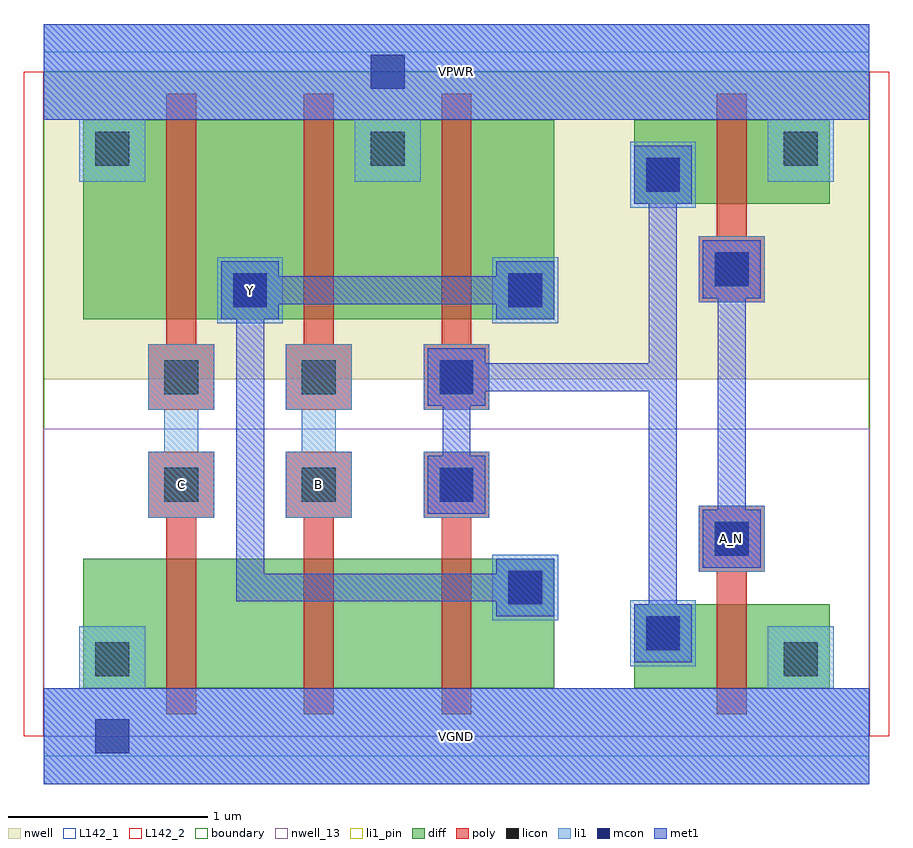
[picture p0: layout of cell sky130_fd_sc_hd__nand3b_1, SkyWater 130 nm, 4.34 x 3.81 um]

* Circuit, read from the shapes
.subckt sky130_fd_sc_hd__nand3b_1 A_N B C VGND VPWR Y
XM1 n1 C VGND VSUBS sky130_fd_pr__nfet_01v8 w=0.65 l=0.15
XM2 n2 B n1 VSUBS sky130_fd_pr__nfet_01v8 w=0.65 l=0.15
XM3 Y n3 n2 VSUBS sky130_fd_pr__nfet_01v8 w=0.65 l=0.15
XM4 VGND A_N n3 VSUBS sky130_fd_pr__nfet_01v8 w=0.42 l=0.15
XM5 Y C VPWR n4 sky130_fd_pr__pfet_01v8 w=1 l=0.15
XM6 VPWR B Y n4 sky130_fd_pr__pfet_01v8 w=1 l=0.15
XM7 Y n3 VPWR n4 sky130_fd_pr__pfet_01v8 w=1 l=0.15
XM8 VPWR A_N n3 n4 sky130_fd_pr__pfet_01v8 w=0.42 l=0.15
.ends

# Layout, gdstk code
import gdstk
lib = gdstk.Library(unit=1e-6, precision=1e-09)
def R(c, l, rs):  # rectangles x0, y0, x1, y1
    for r in rs: c.add(gdstk.rectangle(r[:2], r[2:], *l))
def A(c, l, x, y, w, h, nx, ny, dx, dy):  # array of equal rectangles
    R(c, l, [(x+i*dx, y+j*dy, x+i*dx+w, y+j*dy+h) for i in range(nx) for j in range(ny)])
def P(c, l, *ps):  # polygons
    for p in ps: c.add(gdstk.Polygon(p, *l))
nwell_13 = (64, 13)
nwell = (64, 20)
diff = (65, 20)
poly = (66, 20)
licon = (66, 44)
li1_pin = (67, 16)
li1 = (67, 20)
mcon = (67, 44)
met1 = (68, 20)
L142_1 = (142, 1)
L142_2 = (142, 2)
boundary = (235, 4)

sky130_fd_sc_hd__nand3b_ = lib.new_cell('sky130_fd_sc_hd__nand3b_1')
R(sky130_fd_sc_hd__nand3b_, nwell_13, [(0,0,4.14,1.54)])
R(sky130_fd_sc_hd__nand3b_, nwell, [(0,1.79,4.14,3.33)])
R(sky130_fd_sc_hd__nand3b_, diff, [(0.2,0.24,2.56,0.89), (0.2,0.24,0.615,0.89), (0.615,0.24,1.305,0.89), (1.305,0.24,1.995,0.89), (1.995,0.24,2.56,0.89), (2.96,0.24,3.94,0.66), (2.96,0.24,3.375,0.66), (3.375,0.24,3.94,0.66), (0.2,2.09,2.56,3.09), (0.2,2.09,0.615,3.09), (0.615,2.09,1.305,3.09), (1.305,2.09,1.995,3.09), (1.995,2.09,2.56,3.09), (2.96,2.67,3.94,3.09), (2.96,2.67,3.375,3.09), (3.375,2.67,3.94,3.09)])
P(sky130_fd_sc_hd__nand3b_, poly, [(1.305,0.11),(1.305,1.095),(1.215,1.095),(1.215,1.425),(1.545,1.425),(1.545,1.095),(1.455,1.095),(1.455,0.11)],
  [(1.215,1.635),(1.215,1.965),(1.305,1.965),(1.305,3.22),(1.455,3.22),(1.455,1.965),(1.545,1.965),(1.545,1.635)],
  [(3.375,0.11),(3.375,0.825),(3.285,0.825),(3.285,1.155),(3.615,1.155),(3.615,0.825),(3.525,0.825),(3.525,0.11)],
  [(3.285,2.175),(3.285,2.505),(3.375,2.505),(3.375,3.22),(3.525,3.22),(3.525,2.505),(3.615,2.505),(3.615,2.175)],
  [(0.615,0.11),(0.615,1.095),(0.525,1.095),(0.525,1.425),(0.855,1.425),(0.855,1.095),(0.765,1.095),(0.765,0.11)],
  [(0.525,1.635),(0.525,1.965),(0.615,1.965),(0.615,3.22),(0.765,3.22),(0.765,1.965),(0.855,1.965),(0.855,1.635)],
  [(1.995,0.11),(1.995,1.095),(1.905,1.095),(1.905,1.425),(2.235,1.425),(2.235,1.095),(2.145,1.095),(2.145,0.11)],
  [(1.905,1.635),(1.905,1.965),(1.995,1.965),(1.995,3.22),(2.145,3.22),(2.145,1.965),(2.235,1.965),(2.235,1.635)])
A(sky130_fd_sc_hd__nand3b_, licon, 0.605, 1.175, 0.17, 0.17, 3, 2, 0.69, 0.54)
R(sky130_fd_sc_hd__nand3b_, licon, [(0.26,0.3,0.43,0.47), (3.71,0.3,3.88,0.47), (3.02,0.43,3.19,0.6), (2.33,0.66,2.5,0.83), (3.365,0.905,3.535,1.075), (0.95,2.15,1.12,2.32), (2.33,2.15,2.5,2.32), (3.365,2.255,3.535,2.425), (3.02,2.73,3.19,2.9), (0.26,2.86,0.43,3.03), (1.64,2.86,1.81,3.03), (3.71,2.86,3.88,3.03)])
R(sky130_fd_sc_hd__nand3b_, li1_pin, [(0,-0.24,4.14,0.24), (3.285,0.825,3.615,1.155), (0.87,2.07,1.2,2.4), (0,3.09,4.14,3.57)])
P(sky130_fd_sc_hd__nand3b_, li1_pin, [(0.525,1.095),(0.525,1.425),(0.605,1.425),(0.605,1.635),(0.525,1.635),(0.525,1.965),(0.855,1.965),(0.855,1.635),(0.775,1.635),(0.775,1.425),(0.855,1.425),(0.855,1.095)],
  [(1.215,1.095),(1.215,1.425),(1.295,1.425),(1.295,1.635),(1.215,1.635),(1.215,1.965),(1.545,1.965),(1.545,1.635),(1.465,1.635),(1.465,1.425),(1.545,1.425),(1.545,1.095)])
R(sky130_fd_sc_hd__nand3b_, li1, [(2.94,0.35,3.27,0.68), (2.25,0.58,2.58,0.91), (3.285,0.825,3.615,1.155), (1.905,1.095,2.235,1.425), (1.905,1.635,2.235,1.965), (0.87,2.07,1.2,2.4), (2.25,2.07,2.58,2.4), (3.285,2.175,3.615,2.505), (2.94,2.65,3.27,2.98)])
P(sky130_fd_sc_hd__nand3b_, li1, [(1.215,1.095),(1.215,1.425),(1.295,1.425),(1.295,1.635),(1.215,1.635),(1.215,1.965),(1.545,1.965),(1.545,1.635),(1.465,1.635),(1.465,1.425),(1.545,1.425),(1.545,1.095)],
  [(0.18,2.78),(0.18,3.09),(0,3.09),(0,3.57),(4.14,3.57),(4.14,3.09),(3.96,3.09),(3.96,2.78),(3.63,2.78),(3.63,3.09),(1.89,3.09),(1.89,2.78),(1.56,2.78),(1.56,3.09),(0.51,3.09),(0.51,2.78)],
  [(0.525,1.095),(0.525,1.425),(0.605,1.425),(0.605,1.635),(0.525,1.635),(0.525,1.965),(0.855,1.965),(0.855,1.635),(0.775,1.635),(0.775,1.425),(0.855,1.425),(0.855,1.095)],
  [(0,-0.24),(0,0.24),(0.18,0.24),(0.18,0.55),(0.51,0.55),(0.51,0.24),(3.63,0.24),(3.63,0.55),(3.96,0.55),(3.96,0.24),(4.14,0.24),(4.14,-0.24)])
R(sky130_fd_sc_hd__nand3b_, mcon, [(0.26,-0.085,0.43,0.085), (3.02,0.43,3.19,0.6), (2.33,0.66,2.5,0.83), (3.365,0.905,3.535,1.075), (1.985,1.175,2.155,1.345), (1.985,1.715,2.155,1.885), (0.95,2.15,1.12,2.32), (2.33,2.15,2.5,2.32), (3.365,2.255,3.535,2.425), (3.02,2.73,3.19,2.9), (1.64,3.245,1.81,3.415)])
R(sky130_fd_sc_hd__nand3b_, met1, [(0,-0.24,4.14,0.24), (0,3.09,4.14,3.57)])
P(sky130_fd_sc_hd__nand3b_, met1, [(2.27,0.6),(2.27,0.675),(0.965,0.675),(0.965,2.09),(0.89,2.09),(0.89,2.38),(1.18,2.38),(1.18,2.305),(2.27,2.305),(2.27,2.38),(2.56,2.38),(2.56,2.09),(2.27,2.09),(2.27,2.165),(1.18,2.165),(1.18,2.09),(1.105,2.09),(1.105,0.815),(2.27,0.815),(2.27,0.89),(2.56,0.89),(2.56,0.6)],
  [(3.305,0.845),(3.305,1.135),(3.38,1.135),(3.38,2.195),(3.305,2.195),(3.305,2.485),(3.595,2.485),(3.595,2.195),(3.52,2.195),(3.52,1.135),(3.595,1.135),(3.595,0.845)],
  [(2.96,0.37),(2.96,0.66),(3.035,0.66),(3.035,1.73),(2.215,1.73),(2.215,1.655),(2.14,1.655),(2.14,1.405),(2.215,1.405),(2.215,1.115),(1.925,1.115),(1.925,1.405),(2,1.405),(2,1.655),(1.925,1.655),(1.925,1.945),(2.215,1.945),(2.215,1.87),(3.035,1.87),(3.035,2.67),(2.96,2.67),(2.96,2.96),(3.25,2.96),(3.25,2.67),(3.175,2.67),(3.175,0.66),(3.25,0.66),(3.25,0.37)])
R(sky130_fd_sc_hd__nand3b_, L142_1, [(0,-0.1,4.14,0), (0,3.33,4.14,3.43)])
R(sky130_fd_sc_hd__nand3b_, L142_2, [(-0.1,0,0,3.33), (4.14,0,4.24,3.33)])
R(sky130_fd_sc_hd__nand3b_, boundary, [(0,0,4.14,3.33)])
sky130_fd_sc_hd__nand3b_.add(gdstk.Label('Y', (1.035,2.235), layer=67, texttype=5))
sky130_fd_sc_hd__nand3b_.add(gdstk.Label('C', (0.69,1.26), layer=67, texttype=5))
sky130_fd_sc_hd__nand3b_.add(gdstk.Label('B', (1.38,1.26), layer=67, texttype=5))
sky130_fd_sc_hd__nand3b_.add(gdstk.Label('A_N', (3.45,0.99), layer=67, texttype=5))
sky130_fd_sc_hd__nand3b_.add(gdstk.Label('VGND', (2.07,0), layer=67, texttype=5))
sky130_fd_sc_hd__nand3b_.add(gdstk.Label('VPWR', (2.07,3.33), layer=67, texttype=5))
sky130_fd_sc_hd__nand3b_.add(gdstk.Label('VGND', (2.07,0), layer=68, texttype=5))
sky130_fd_sc_hd__nand3b_.add(gdstk.Label('VPWR', (2.07,3.33), layer=68, texttype=5))

lib.write_gds('sky130_fd_sc_hd__nand3b_1.gds')
